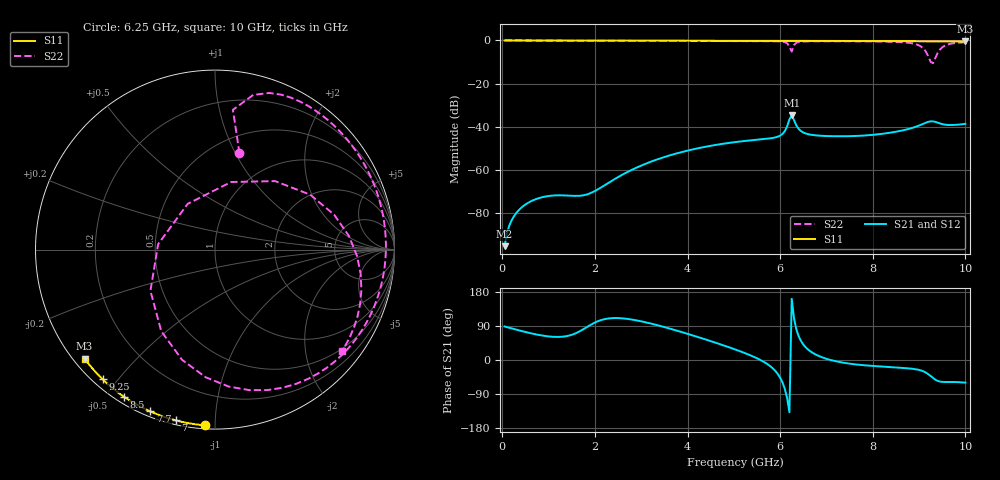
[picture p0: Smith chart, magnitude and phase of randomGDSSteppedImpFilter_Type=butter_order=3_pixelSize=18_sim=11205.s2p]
! freq	dB(S11)	phase(S11)	dB(S12)	phase(S12)
!  dB(S21)	phase(S21)	dB(S22)	phase(S22)
!S-par simulation data
#  GHz  S  DB  R 50
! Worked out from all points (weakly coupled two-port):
!   200 points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, 50 MHz to 10 GHz, reference 50 ohm
!   highest |S21| = -34.72 dB at 6.25 GHz (marker M1); lowest = -95.5 dB at 50 MHz (marker M2)
!   lowest |S11| = -0.5 dB at 10 GHz (marker M3), VSWR 36.62, Z = 1.54 - j18.1 ohm
!   |S11| at or under -10 dB: nowhere
!   |S22| runs from -10.5 to 0.0 dB; largest |S21 - S12| = 0
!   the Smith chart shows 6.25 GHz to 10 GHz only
!   S11 on the Smith chart (normalised r, x): 6.25 GHz: 0.02, -0.95; 7 GHz: 0.02, -0.80; 7.7 GHz: 0.02, -0.68; 8.5 GHz: 0.02, -0.56; 9.25 GHz: 0.03, -0.46; 10 GHz: 0.03, -0.36
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0.05  -0.00 -0.8  -95.48 88.4  -95.48 88.4  -0.00 -2.6
1  -0.02 -16.1  -72.20 62.2  -72.20 62.2  -0.06 -50.9
1.75  -0.04 -28.0  -71.87 81.2  -71.87 81.2  -0.11 -87.2
2.5  -0.05 -39.7  -63.42 110.7  -63.42 110.7  -0.14 -121.8
3.4  -0.07 -53.3  -54.81 90.2  -54.81 90.2  -0.19 -161.8
4.2  -0.09 -65.0  -50.16 61.5  -50.16 61.5  -0.23 162.8
5.05  -0.12 -77.0  -47.12 26.9  -47.12 26.9  -0.28 124.0
6  -0.16 -89.9  -44.16 -46.8  -44.16 -46.8  -0.47 75.4
6.2  -0.17 -92.6  -36.63 -137.9  -36.63 -137.9  -2.91 55.5
6.25  -0.18 -93.2  -34.72 161.4  -34.72 161.4  -5.13 75.7
6.35  -0.18 -94.5  -39.47 80.5  -39.47 80.5  -1.03 76.1
6.7  -0.19 -99.1  -43.88 19.1  -43.88 19.1  -0.39 51.7
7  -0.21 -102.9  -44.36 3.1  -44.36 3.1  -0.37 36.7
7.7  -0.26 -111.8  -44.27 -12.6  -44.27 -12.6  -0.41 3.8
8.35  -0.31 -119.9  -42.90 -18.4  -42.90 -18.4  -0.59 -28.0
8.5  -0.32 -121.8  -42.37 -19.6  -42.37 -19.6  -0.69 -36.6
9  -0.37 -127.9  -39.49 -26.2  -39.49 -26.2  -2.31 -84.3
9.1  -0.38 -129.1  -38.59 -30.3  -38.59 -30.3  -3.86 -106.7
9.25  -0.39 -131.0  -37.56 -42.5  -37.56 -42.5  -9.95 174.5
9.35  -0.40 -132.2  -37.80 -51.9  -37.80 -51.9  -8.24 76.5
9.55  -0.42 -134.6  -39.06 -58.1  -39.06 -58.1  -2.50 5.8
10  -0.47 -140.1  -38.72 -59.7  -38.72 -59.7  -0.86 -38.6
